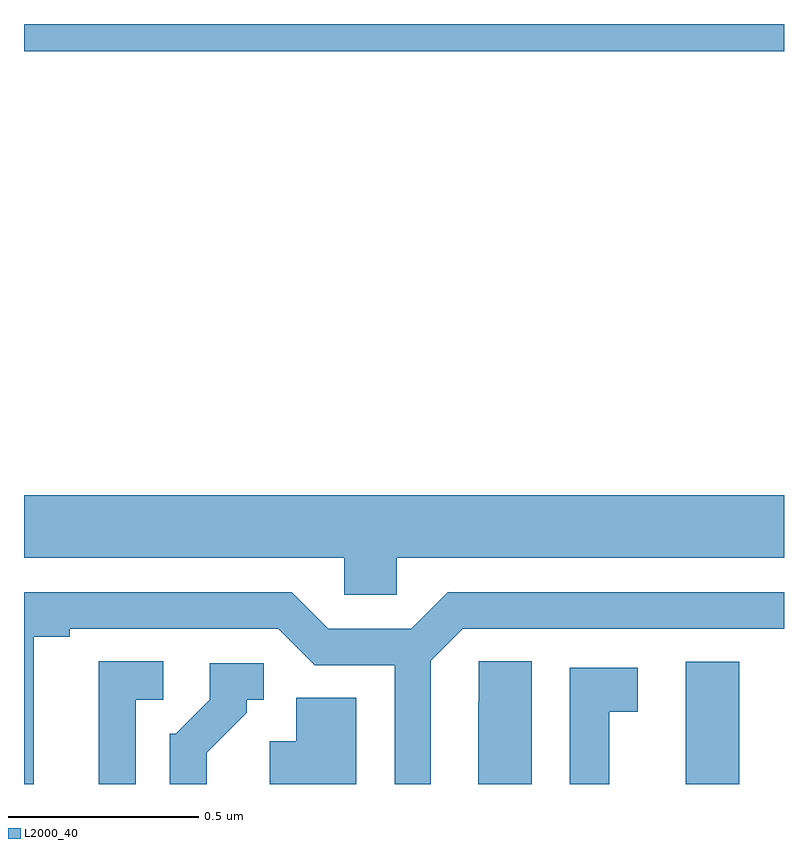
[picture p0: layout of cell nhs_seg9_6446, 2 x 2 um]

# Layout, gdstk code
import gdstk
lib = gdstk.Library(unit=1e-6, precision=1e-09)
def R(c, l, rs):  # rectangles x0, y0, x1, y1
    for r in rs: c.add(gdstk.rectangle(r[:2], r[2:], *l))
def P(c, l, *ps):  # polygons
    for p in ps: c.add(gdstk.Polygon(p, *l))
L2000_40 = (2000, 40)

nhs_seg9_6446 = lib.new_cell('nhs_seg9_6446')
R(nhs_seg9_6446, L2000_40, [(193.742,1186.5,193.882,1186.822), (192,1188.428,194,1188.5)])
P(nhs_seg9_6446, L2000_40, [(192.981,1187.096),(194,1187.096),(194,1187.26),(192,1187.26),(192,1187.096),(192.843,1187.096),(192.843,1186.998),(192.981,1186.998)],
  [(192.025,1186.888),(192.121,1186.888),(192.121,1186.908),(192.669,1186.908),(192.765,1186.812),(192.975,1186.812),(192.975,1186.5),(193.071,1186.5),(193.071,1186.824),(193.155,1186.908),(194,1186.908),(194,1187.004),(193.115,1187.004),(193.019,1186.908),(192.801,1186.908),(192.705,1187.004),(192,1187.004),(192,1186.5),(192.025,1186.5)],
  [(192.294,1186.722),(192.367,1186.722),(192.367,1186.823),(192.197,1186.823),(192.197,1186.5),(192.294,1186.5)],
  [(193.336,1186.823),(193.197,1186.823),(193.197,1186.715),(193.196,1186.715),(193.196,1186.5),(193.336,1186.5)],
  [(192.481,1186.582),(192.586,1186.687),(192.586,1186.722),(192.631,1186.722),(192.631,1186.818),(192.489,1186.818),(192.489,1186.722),(192.399,1186.632),(192.384,1186.632),(192.384,1186.5),(192.481,1186.5)],
  [(193.54,1186.69),(193.615,1186.69),(193.615,1186.806),(193.436,1186.806),(193.436,1186.5),(193.54,1186.5)],
  [(192.874,1186.727),(192.716,1186.727),(192.716,1186.612),(192.647,1186.612),(192.647,1186.5),(192.874,1186.5)])

lib.write_gds('nhs_seg9_6446.gds')
